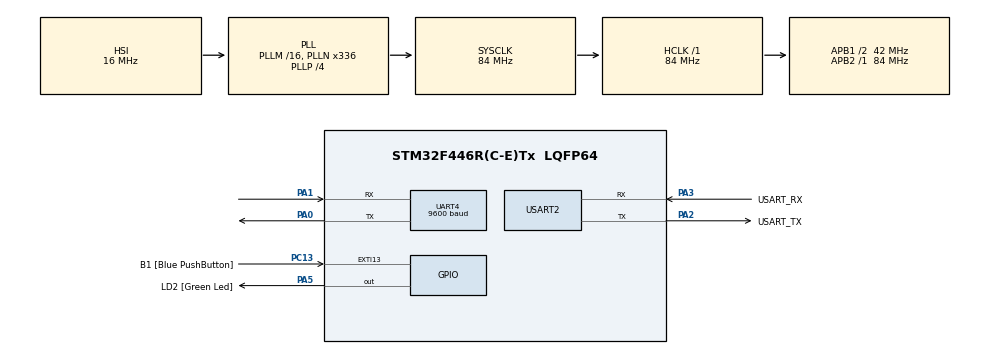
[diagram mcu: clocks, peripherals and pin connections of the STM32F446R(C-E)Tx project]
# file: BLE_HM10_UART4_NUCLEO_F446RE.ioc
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Mcu.Family=STM32F4
Mcu.Name=STM32F446R(C-E)Tx
Mcu.Package=LQFP64
NVIC.PriorityGroup=NVIC_PRIORITYGROUP_0
NVIC.UART4_IRQn=true\:0\:0\:false\:false\:true\:true\:true\:true
NVIC.USART2_IRQn=true\:0\:0\:false\:false\:true\:true\:true\:true
PA0-WKUP.Mode=Asynchronous
PA0-WKUP.Signal=UART4_TX
PA1.Mode=Asynchronous
PA1.Signal=UART4_RX
PA13.GPIO_Label=TMS
PA13.Mode=Serial_Wire
PA13.Signal=SYS_JTMS-SWDIO
PA14.GPIO_Label=TCK
PA14.Mode=Serial_Wire
PA14.Signal=SYS_JTCK-SWCLK
PA2.GPIO_Label=USART_TX
PA2.Mode=Asynchronous
PA2.Signal=USART2_TX
PA3.GPIO_Label=USART_RX
PA3.Mode=Asynchronous
PA3.Signal=USART2_RX
PA5.GPIO_Label=LD2 [Green Led]
PA5.Signal=GPIO_Output
PB3.GPIO_Label=SWO
PB3.Signal=SYS_JTDO-SWO
PC13.GPIO_Label=B1 [Blue PushButton]
PC13.GPIO_ModeDefaultEXTI=GPIO_MODE_IT_FALLING
PC13.Signal=GPXTI13
PC14-OSC32_IN.Mode=LSE-External-Oscillator
PC14-OSC32_IN.Signal=RCC_OSC32_IN
PC15-OSC32_OUT.Mode=LSE-External-Oscillator
PC15-OSC32_OUT.Signal=RCC_OSC32_OUT
PH0-OSC_IN.Mode=HSE-External-Oscillator
PH0-OSC_IN.Signal=RCC_OSC_IN
PH1-OSC_OUT.Mode=HSE-External-Oscillator
PH1-OSC_OUT.Signal=RCC_OSC_OUT
ProjectManager.HeapSize=0x200
ProjectManager.StackSize=0x400
ProjectManager.TargetToolchain=STM32CubeIDE
RCC.48MHZClocksFreq_Value=84000000
RCC.AHBFreq_Value=84000000
RCC.APB1CLKDivider=RCC_HCLK_DIV2
RCC.APB1Freq_Value=42000000
RCC.APB1TimFreq_Value=84000000
RCC.APB2Freq_Value=84000000
RCC.APB2TimFreq_Value=84000000
RCC.CortexFreq_Value=84000000
RCC.FLatency-AdvancedSettings=FLASH_LATENCY_2
RCC.HCLKFreq_Value=84000000
RCC.HSE_VALUE=8000000
RCC.HSI_VALUE=16000000
RCC.PLLN=336
RCC.PLLP=RCC_PLLP_DIV4
RCC.SYSCLKFreq_VALUE=84000000
RCC.SYSCLKSource=RCC_SYSCLKSOURCE_PLLCLK
RCC.USBFreq_Value=168000000
RCC.VCOOutputFreq_Value=336000000
UART4.BaudRate=9600
UART4.VirtualMode=Asynchronous
USART2.VirtualMode=VM_ASYNC
board=NUCLEO-F446RE

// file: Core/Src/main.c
/* USER CODE BEGIN Header */
/**
  ******************************************************************************
  * @file           : main.c
  * @brief          : Programa principal para implementar una comunicación BLE
  *                   con STM32F446RE mediante un módulo HM-10.
  *
  *                   Este firmware utiliza USART2 para la comunicación con la PC
  *                   mediante una terminal serie, y UART4 para el intercambio de
  *                   datos con el módulo HM-10. El HM-10 actúa como puente entre
  *                   Bluetooth Low Energy y UART, permitiendo recibir comandos
  *                   desde un smartphone y procesarlos en el STM32.
  *
  *                   Los comandos recibidos permiten controlar el LED LD2,
  *                   consultar su estado y enviar respuestas tanto al smartphone
  *                   como a la terminal de depuración. Además, desde la PC se
  *                   pueden reenviar comandos AT al HM-10 para verificar o
  *                   configurar el módulo.
  ******************************************************************************
  * @attention
  *
  * Copyright (c) 2026 STMicroelectronics.
  * All rights reserved.
  *
  * This software is licensed under terms that can be found in the LICENSE file
  * in the root directory of this software component.
  * If no LICENSE file comes with this software, it is provided AS-IS.
  *
  ******************************************************************************
  */
/* USER CODE END Header */
#include "main.h"

/* USER CODE BEGIN Includes */
#include <stdio.h>
#include <string.h>
#include <stdlib.h>
/* USER CODE END Includes */

/* USER CODE BEGIN PD */
#define PC_RX_SIZE        64U
#define BLE_RX_SIZE       64U
#define TX_MSG_SIZE       128U

#define ADC_MAX_VALUE     4095U
#define ADC_VREF_MV       3300U

#define HM10_AT_EOL       "\r\n"
/* USER CODE END PD */

UART_HandleTypeDef huart4;
UART_HandleTypeDef huart2;

/* USER CODE BEGIN PV */
static uint8_t pc_rx_buffer[PC_RX_SIZE];
static uint8_t ble_rx_buffer[BLE_RX_SIZE];

static char pc_command[PC_RX_SIZE];
static char ble_command[BLE_RX_SIZE];

static volatile uint8_t pc_command_ready = 0U;
static volatile uint8_t ble_command_ready = 0U;

static volatile uint8_t hm10_at_response_pending = 0U;

static char tx_msg[TX_MSG_SIZE];

static uint8_t led_state = 0U;
/* USER CODE END PV */

void SystemClock_Config(void);
static void MX_GPIO_Init(void);
static void MX_USART2_UART_Init(void);
static void MX_UART4_Init(void);
/* USER CODE BEGIN PFP */
static void PC_Print(const char *msg);
static void BLE_Send(const char *msg);
static void HM10_SendAT(const char *cmd);

static void ProcessPcCommand(const char *cmd);
static void ProcessBleCommand(const char *cmd);
static void ProcessAppCommand(const char *cmd, uint8_t answer_to_ble);

static void TrimLine(char *str);

/* USER CODE END PFP */

/* USER CODE BEGIN 0 */
static void PC_Print(const char *msg)
{
    HAL_UART_Transmit(&huart2,
                      (uint8_t *)msg,
                      strlen(msg),
                      HAL_MAX_DELAY);
}

static void BLE_Send(const char *msg)
{
    HAL_UART_Transmit(&huart4,
                      (uint8_t *)msg,
                      strlen(msg),
                      HAL_MAX_DELAY);
}

static void HM10_SendAT(const char *cmd)
{
    /*
     * Este modulo HM-10 compatible responde correctamente
     * cuando los comandos AT terminan con LF: '\n'.
     */
    BLE_Send(cmd);
    BLE_Send(HM10_AT_EOL);
}

static void TrimLine(char *str)
{
    size_t len = strlen(str);

    while ((len > 0U) &&
           ((str[len - 1U] == '\r') ||
            (str[len - 1U] == '\n') ||
            (str[len - 1U] == ' ')))
    {
        str[len - 1U] = '\0';
        len--;
    }
}

//Esta función se ejecuta cuando llega información por USART2 o por UART4.
void HAL_UARTEx_RxEventCallback(UART_HandleTypeDef *huart, uint16_t Size)
{
    if (huart->Instance == USART2)
    {
        if (Size >= PC_RX_SIZE)
        {
            Size = PC_RX_SIZE - 1U;
        }

        memcpy(pc_command, pc_rx_buffer, Size);
        pc_command[Size] = '\0';
        TrimLine(pc_command);

        pc_command_ready = 1U;

        HAL_UARTEx_ReceiveToIdle_IT(&huart2,
                                    pc_rx_buffer,
                                    PC_RX_SIZE);
    }

    else if (huart->Instance == UART4)
    {
        if (Size >= BLE_RX_SIZE)
        {
            Size = BLE_RX_SIZE - 1U;
        }

        memcpy(ble_command, ble_rx_buffer, Size);
        ble_command[Size] = '\0';
        TrimLine(ble_command);

        ble_command_ready = 1U;

        HAL_UARTEx_ReceiveToIdle_IT(&huart4,
                                    ble_rx_buffer,
                                    BLE_RX_SIZE);
    }
}
//Con esto, desde Cutecom podremos mandar comandos AT al HM-10 y también probar localmente el parser del STM32
static void ProcessPcCommand(const char *cmd)
{
    if (strlen(cmd) == 0U)
    {
        return;
    }

    PC_Print("[PC] ");
    PC_Print(cmd);
    PC_Print("\r\n");

    if (strcmp(cmd, "HELP") == 0)
    {
    	PC_Print("\r\nComandos disponibles desde Cutecom:\r\n");
    	PC_Print("HELP\r\n");
    	PC_Print("AT\r\n");
    	PC_Print("AT+NAME?\r\n");
    	PC_Print("AT+BAUD?\r\n");
    	PC_Print("AT+ROLE?\r\n");
    	PC_Print("AT+RESET\r\n");
    	PC_Print("LOCAL LED_ON\r\n");
    	PC_Print("LOCAL LED_OFF\r\n");
    	PC_Print("LOCAL LED_TOGGLE\r\n");
    	PC_Print("LOCAL STATUS\r\n");
    	PC_Print("LOCAL ADC?\r\n");
    	PC_Print("BLE mensaje\r\n");
    	PC_Print("\r\n");
    }

    else if (strncmp(cmd, "AT", 2U) == 0)
    {
        PC_Print("[PC -> HM10 AT] ");
        PC_Print(cmd);
        PC_Print(" + CRLF\r\n");

        hm10_at_response_pending = 1U;
        HM10_SendAT(cmd);
    }
    else if (strncmp(cmd, "AT", 2U) == 0)
    {
        PC_Print("[PC -> HM10] ");
        PC_Print(cmd);
        PC_Print("\r\n");

        /*
         * En muchos HM-10 el comando AT se envia sin CR/LF.
         * Si tu modulo no responde, probar enviando tambien "\r\n".
         */
        BLE_Send(cmd);
    }

    else if (strncmp(cmd, "LOCAL ", 6U) == 0)
    {
        ProcessAppCommand(&cmd[6], 0U);
    }

    else if (strncmp(cmd, "BLE ", 4U) == 0)
    {
        PC_Print("[PC -> BLE] ");
        PC_Print(&cmd[4]);
        PC_Print("\r\n");

        BLE_Send(&cmd[4]);
        BLE_Send("\r\n");
    }

    else
    {
        PC_Print("Comando de PC no reconocido. Escriba HELP.\r\n");
    }
}
// Esta función procesa los datos recibidos desde HM-10
static void ProcessBleCommand(const char *cmd)
{
	if (strlen(cmd) == 0U)
	    {
	        return;
	    }

	    /*
	     * Si acabamos de enviar un comando AT al HM-10,
	     * mostramos la respuesta en Cutecom y liberamos el modo AT.
	     *
	     * En este modulo compatible algunas respuestas no incluyen OK,
	     * por ejemplo: +VERSION=... o +BAUD=4.
	     */
	    if (hm10_at_response_pending != 0U)
	    {
	        PC_Print("[HM10 AT -> PC] ");
	        PC_Print(cmd);
	        PC_Print("\r\n");

	        hm10_at_response_pending = 0U;

	        return;
	    }

	    /*
	     * Si no estamos esperando una respuesta AT,
	     * tratamos el dato como comando recibido desde el smartphone.
	     */
	    PC_Print("[HM10 -> STM32] ");
	    PC_Print(cmd);
	    PC_Print("\r\n");

	    ProcessAppCommand(cmd, 1U);
}
//parser de comandos de aplicación
static void ProcessAppCommand(const char *cmd, uint8_t answer_to_ble)
{
    if (strcmp(cmd, "LED_ON") == 0)
    {
        HAL_GPIO_WritePin(LD2_GPIO_Port, LD2_Pin, GPIO_PIN_SET);
        led_state = 1U;

        snprintf(tx_msg, sizeof(tx_msg), "OK LED_ON\r\n");
    }

    else if (strcmp(cmd, "LED_OFF") == 0)
    {
        HAL_GPIO_WritePin(LD2_GPIO_Port, LD2_Pin, GPIO_PIN_RESET);
        led_state = 0U;

        snprintf(tx_msg, sizeof(tx_msg), "OK LED_OFF\r\n");
    }

    else if (strcmp(cmd, "LED_TOGGLE") == 0)
    {
        HAL_GPIO_TogglePin(LD2_GPIO_Port, LD2_Pin);
        led_state = !led_state;

        snprintf(tx_msg, sizeof(tx_msg), "OK LED_TOGGLE\r\n");
    }

    else if (strcmp(cmd, "STATUS") == 0)
    {
        snprintf(tx_msg,
                 sizeof(tx_msg),
                 "STATUS LED=%s\r\n",
                 (led_state != 0U) ? "ON" : "OFF");
    }

    else if (strcmp(cmd, "ADC?") == 0)
    {
        /*uint32_t adc_raw = ADC_ReadRaw();
        uint32_t adc_mv = (adc_raw * ADC_VREF_MV) / ADC_MAX_VALUE;

        snprintf(tx_msg,
                 sizeof(tx_msg),
                 "ADC=%lu V=%lu.%03lu\r\n",
                 adc_raw,
                 adc_mv / 1000U,
                 adc_mv % 1000U);*/
    	snprintf(tx_msg,
    	             sizeof(tx_msg),
    	             "ADC_SIM=2048 V=1.650\r\n");
    }

    else
    {
        snprintf(tx_msg,
                 sizeof(tx_msg),
                 "ERROR comando no reconocido: %s\r\n",
                 cmd);
    }

    PC_Print("[APP] ");
    PC_Print(tx_msg);

    if (answer_to_ble != 0U)
    {
        BLE_Send(tx_msg);
    }
}
/* USER CODE END 0 */

int main(void)
{

  /* MCU Configuration--------------------------------------------------------*/

  /* Reset of all peripherals, Initializes the Flash interface and the Systick. */
  HAL_Init();

  /* Configure the system clock */
  SystemClock_Config();

  /* Initialize all configured peripherals */
  MX_GPIO_Init();
  MX_USART2_UART_Init();
  MX_UART4_Init();
  /* USER CODE BEGIN 2 */
  PC_Print("\r\n====================================\r\n");
  PC_Print("Practica BLE HM-10 + STM32F446RE\r\n");
  PC_Print("USART2: Cutecom / PC\r\n");
  PC_Print("UART4 : HM-10\r\n");
  PC_Print("====================================\r\n");

  PC_Print("Escriba HELP para ver comandos.\r\n\r\n");
  //Se habilitam la recepción por interrupción para UART 2 y 4
  HAL_UARTEx_ReceiveToIdle_IT(&huart2,
                              pc_rx_buffer,
                              PC_RX_SIZE);

  HAL_UARTEx_ReceiveToIdle_IT(&huart4,
                              ble_rx_buffer,
                              BLE_RX_SIZE);

  /* Infinite loop */
  while (1)
  {

    /* USER CODE BEGIN 3 */
	  if (pc_command_ready != 0U)
	  {
	      pc_command_ready = 0U;

	      ProcessPcCommand(pc_command);

	      memset(pc_command, 0, sizeof(pc_command));
	  }

	  if (ble_command_ready != 0U)
	  {
	      ble_command_ready = 0U;

	      ProcessBleCommand(ble_command);

	      memset(ble_command, 0, sizeof(ble_command));
	  }
  }
  /* USER CODE END 3 */
}

void SystemClock_Config(void)
{
  RCC_OscInitTypeDef RCC_OscInitStruct = {0};
  RCC_ClkInitTypeDef RCC_ClkInitStruct = {0};

  /** Configure the main internal regulator output voltage
  */
  __HAL_RCC_PWR_CLK_ENABLE();
  __HAL_PWR_VOLTAGESCALING_CONFIG(PWR_REGULATOR_VOLTAGE_SCALE3);

  /** Initializes the RCC Oscillators according to the specified parameters
  * in the RCC_OscInitTypeDef structure.
  */
  RCC_OscInitStruct.OscillatorType = RCC_OSCILLATORTYPE_HSI;
  RCC_OscInitStruct.HSIState = RCC_HSI_ON;
  RCC_OscInitStruct.HSICalibrationValue = RCC_HSICALIBRATION_DEFAULT;
  RCC_OscInitStruct.PLL.PLLState = RCC_PLL_ON;
  RCC_OscInitStruct.PLL.PLLSource = RCC_PLLSOURCE_HSI;
  RCC_OscInitStruct.PLL.PLLM = 16;
  RCC_OscInitStruct.PLL.PLLN = 336;
  RCC_OscInitStruct.PLL.PLLP = RCC_PLLP_DIV4;
  RCC_OscInitStruct.PLL.PLLQ = 2;
  RCC_OscInitStruct.PLL.PLLR = 2;
  if (HAL_RCC_OscConfig(&RCC_OscInitStruct) != HAL_OK)
  {
    Error_Handler();
  }

  /** Initializes the CPU, AHB and APB buses clocks
  */
  RCC_ClkInitStruct.ClockType = RCC_CLOCKTYPE_HCLK|RCC_CLOCKTYPE_SYSCLK
                              |RCC_CLOCKTYPE_PCLK1|RCC_CLOCKTYPE_PCLK2;
  RCC_ClkInitStruct.SYSCLKSource = RCC_SYSCLKSOURCE_PLLCLK;
  RCC_ClkInitStruct.AHBCLKDivider = RCC_SYSCLK_DIV1;
  RCC_ClkInitStruct.APB1CLKDivider = RCC_HCLK_DIV2;
  RCC_ClkInitStruct.APB2CLKDivider = RCC_HCLK_DIV1;

  if (HAL_RCC_ClockConfig(&RCC_ClkInitStruct, FLASH_LATENCY_2) != HAL_OK)
  {
    Error_Handler();
  }
}

static void MX_UART4_Init(void)
{

  huart4.Instance = UART4;
  huart4.Init.BaudRate = 9600;
  huart4.Init.WordLength = UART_WORDLENGTH_8B;
  huart4.Init.StopBits = UART_STOPBITS_1;
  huart4.Init.Parity = UART_PARITY_NONE;
  huart4.Init.Mode = UART_MODE_TX_RX;
  huart4.Init.HwFlowCtl = UART_HWCONTROL_NONE;
  huart4.Init.OverSampling = UART_OVERSAMPLING_16;
  if (HAL_UART_Init(&huart4) != HAL_OK)
  {
    Error_Handler();
  }

}

static void MX_USART2_UART_Init(void)
{

  huart2.Instance = USART2;
  huart2.Init.BaudRate = 115200;
  huart2.Init.WordLength = UART_WORDLENGTH_8B;
  huart2.Init.StopBits = UART_STOPBITS_1;
  huart2.Init.Parity = UART_PARITY_NONE;
  huart2.Init.Mode = UART_MODE_TX_RX;
  huart2.Init.HwFlowCtl = UART_HWCONTROL_NONE;
  huart2.Init.OverSampling = UART_OVERSAMPLING_16;
  if (HAL_UART_Init(&huart2) != HAL_OK)
  {
    Error_Handler();
  }

}

static void MX_GPIO_Init(void)
{
  GPIO_InitTypeDef GPIO_InitStruct = {0};

  /* GPIO Ports Clock Enable */
  __HAL_RCC_GPIOC_CLK_ENABLE();
  __HAL_RCC_GPIOH_CLK_ENABLE();
  __HAL_RCC_GPIOA_CLK_ENABLE();
  __HAL_RCC_GPIOB_CLK_ENABLE();

  /*Configure GPIO pin Output Level */
  HAL_GPIO_WritePin(LD2_GPIO_Port, LD2_Pin, GPIO_PIN_RESET);

  /*Configure GPIO pin : B1_Pin */
  GPIO_InitStruct.Pin = B1_Pin;
  GPIO_InitStruct.Mode = GPIO_MODE_IT_FALLING;
  GPIO_InitStruct.Pull = GPIO_NOPULL;
  HAL_GPIO_Init(B1_GPIO_Port, &GPIO_InitStruct);

  /*Configure GPIO pin : LD2_Pin */
  GPIO_InitStruct.Pin = LD2_Pin;
  GPIO_InitStruct.Mode = GPIO_MODE_OUTPUT_PP;
  GPIO_InitStruct.Pull = GPIO_NOPULL;
  GPIO_InitStruct.Speed = GPIO_SPEED_FREQ_LOW;
  HAL_GPIO_Init(LD2_GPIO_Port, &GPIO_InitStruct);

}

void Error_Handler(void)
{
  __disable_irq();
  while (1)
  {
  }
}
